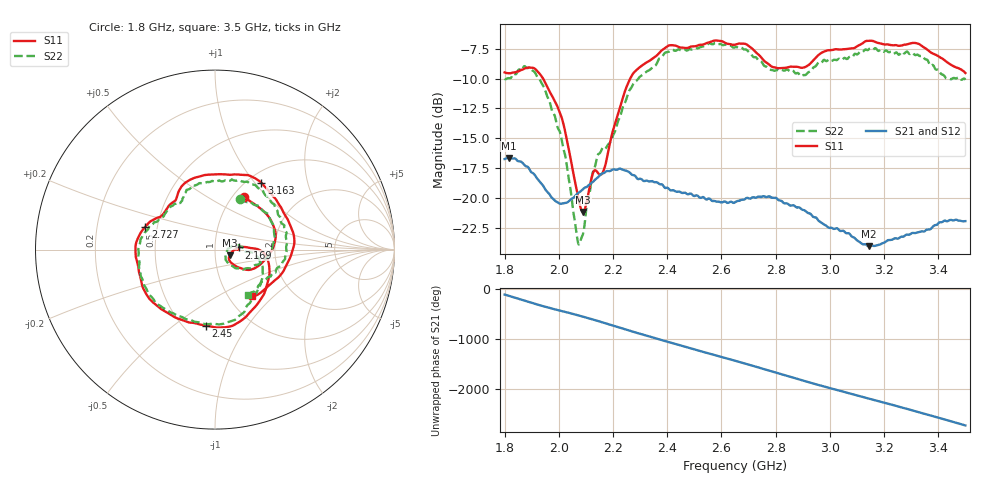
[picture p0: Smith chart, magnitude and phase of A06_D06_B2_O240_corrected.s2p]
! Created with skrf 1.9.0 (http://scikit-rf.org).
# Hz S RI R 50.0
!freq ReS11 ImS11 ReS21 ImS21 ReS12 ImS12 ReS22 ImS22
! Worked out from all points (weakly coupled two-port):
!   1601 points, 1.8 GHz to 3.5 GHz, reference 50 ohm
!   highest |S21| = -16.65 dB at 1.816 GHz (marker M1); lowest = -24.0 dB at 3.143 GHz (marker M2)
!   lowest |S11| = -21.2 dB at 2.09 GHz (marker M3), VSWR 1.19, Z = 58.7 - j3.88 ohm
!   |S11| at or under -10 dB: 1.942 GHz to 2.263 GHz (321.3 MHz wide, 15.3 % of centre)
!   |S22| runs from -23.9 to -7.0 dB; largest |S21 - S12| = 0.0025
!   S11 on the Smith chart (normalised r, x): 1.8 GHz: 1.13, +0.75; 2.169 GHz: 1.31, +0.03; 2.45 GHz: 0.64, -0.66; 2.727 GHz: 0.43, +0.13; 3.163 GHz: 1.15, +1.08; 3.5 GHz: 1.28, -0.75
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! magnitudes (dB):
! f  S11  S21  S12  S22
! 1.8 GHz  -9.5  -16.7  -16.7  -10.0
! 1.816 GHz  -9.6  -16.7  -16.6  -10.0
! 1.881 GHz  -9.1  -17.4  -17.4  -9.1
! 1.943 GHz  -10.1  -19.0  -19.0  -10.6
! 2.011 GHz  -13.3  -20.5  -20.5  -15.3
! 2.068 GHz  -19.6  -19.6  -19.7  -23.4
! 2.084 GHz  -21.0  -19.4  -19.3  -23.3
! 2.09 GHz  -21.2  -19.2  -19.3  -22.9
! 2.13 GHz  -17.7  -18.5  -18.5  -17.6
! 2.169 GHz  -17.5  -17.9  -17.9  -15.8
! 2.261 GHz  -10.1  -17.9  -17.9  -11.0
! 2.367 GHz  -7.9  -18.8  -18.7  -8.4
! 2.45 GHz  -7.4  -19.5  -19.5  -7.6
! 2.65 GHz  -7.2  -20.4  -20.3  -7.4
! 2.727 GHz  -7.8  -20.0  -20.0  -8.2
! 2.804 GHz  -9.1  -20.0  -20.1  -9.3
! 2.934 GHz  -8.6  -21.5  -21.4  -9.2
! 3.143 GHz  -6.8  -24.0  -23.9  -7.6
! 3.163 GHz  -6.9  -24.0  -24.0  -7.5
! 3.217 GHz  -7.2  -23.5  -23.5  -7.8
! 3.324 GHz  -7.1  -22.9  -22.8  -8.0
! 3.5 GHz  -9.5  -21.9  -21.9  -10.1
